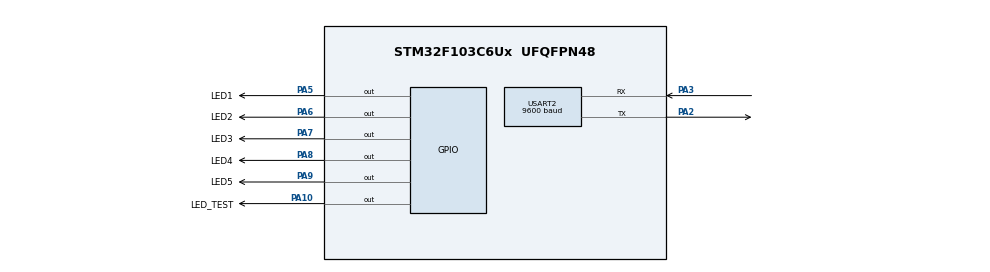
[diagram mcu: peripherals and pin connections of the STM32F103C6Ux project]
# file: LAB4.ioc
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Mcu.Family=STM32F1
Mcu.Name=STM32F103C6Ux
Mcu.Package=UFQFPN48
NVIC.PriorityGroup=NVIC_PRIORITYGROUP_4
NVIC.TIM2_IRQn=true\:0\:0\:false\:false\:true\:true\:true\:true
NVIC.USART2_IRQn=true\:0\:0\:false\:false\:true\:true\:true\:true
PA10.GPIO_Label=LED_TEST
PA10.Signal=GPIO_Output
PA2.Mode=Asynchronous
PA2.Signal=USART2_TX
PA3.Mode=Asynchronous
PA3.Signal=USART2_RX
PA5.GPIO_Label=LED1
PA5.Signal=GPIO_Output
PA6.GPIO_Label=LED2
PA6.Signal=GPIO_Output
PA7.GPIO_Label=LED3
PA7.Signal=GPIO_Output
PA8.GPIO_Label=LED4
PA8.Signal=GPIO_Output
PA9.GPIO_Label=LED5
PA9.Signal=GPIO_Output
ProjectManager.HeapSize=0x200
ProjectManager.StackSize=0x400
ProjectManager.TargetToolchain=STM32CubeIDE
RCC.APB1Freq_Value=8000000
RCC.APB2Freq_Value=8000000
TIM2.Period=10
TIM2.Prescaler=7999
USART2.BaudRate=9600
USART2.VirtualMode=VM_ASYNC
VP_TIM2_VS_ClockSourceINT.Mode=Internal
board=custom

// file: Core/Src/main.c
/* USER CODE BEGIN Header */
/**
  ******************************************************************************
  * @file           : main.c
  * @brief          : Main program body
  ******************************************************************************
  * @attention
  *
  * Copyright (c) 2022 STMicroelectronics.
  * All rights reserved.
  *
  * This software is licensed under terms that can be found in the LICENSE file
  * in the root directory of this software component.
  * If no LICENSE file comes with this software, it is provided AS-IS.
  *
  ******************************************************************************
  */
/* USER CODE END Header */
#include "main.h"

/* USER CODE BEGIN Includes */
#include "software_timer.h"
#include "global.h"
#include "scheduler.h"
/* USER CODE END Includes */

TIM_HandleTypeDef htim2;

UART_HandleTypeDef huart2;

/* USER CODE BEGIN PV */
uint8_t str[] = "Hello: \n";
/* USER CODE END PV */

void SystemClock_Config(void);
static void MX_GPIO_Init(void);
static void MX_TIM2_Init(void);
static void MX_USART2_UART_Init(void);

/* USER CODE BEGIN 0 */
void blinkLed1() {
	HAL_GPIO_TogglePin(LED1_GPIO_Port, LED1_Pin);
}

void blinkLed2() {
	HAL_GPIO_TogglePin(LED2_GPIO_Port, LED2_Pin);
}

void blinkLed3() {
	HAL_GPIO_TogglePin(LED3_GPIO_Port, LED3_Pin);
}

void blinkLed4() {
	HAL_GPIO_TogglePin(LED4_GPIO_Port, LED4_Pin);
}

void blinkLed5() {
	HAL_GPIO_TogglePin(LED5_GPIO_Port, LED5_Pin);
}

void oneshot() {
	HAL_GPIO_TogglePin(LED_TEST_GPIO_Port, LED_TEST_Pin);
}

//uint8_t temp[] = "HELLO WORLD!\n";
//void HAL_UART_RxCpltCallback(UART_HandleTypeDef *huart ){
//	if(huart -> Instance == USART2 ){
//		HAL_UART_Transmit(&huart2 , temp , sizeof(temp), 50);
//		HAL_UART_Receive_IT(&huart2 , temp , sizeof(temp));
//	}
//}
/* USER CODE END 0 */

int main(void)
{

  /* MCU Configuration--------------------------------------------------------*/

  /* Reset of all peripherals, Initializes the Flash interface and the Systick. */
  HAL_Init();

  /* Configure the system clock */
  SystemClock_Config();

  /* Initialize all configured peripherals */
  MX_GPIO_Init();
  MX_TIM2_Init();
  MX_USART2_UART_Init();
  /* USER CODE BEGIN 2 */
  HAL_TIM_Base_Start_IT(&htim2);
  SCH_Init();
  /* USER CODE END 2 */

  /* Infinite loop */
  /* USER CODE BEGIN WHILE */
  SCH_Add_Task(blinkLed1, 0, 500);
  SCH_Add_Task(blinkLed2, 10, 1000);
  SCH_Add_Task(blinkLed3, 20, 1500);
  SCH_Add_Task(blinkLed4, 35, 2000);
  SCH_Add_Task(blinkLed5, 40, 2500);
  SCH_Add_Task(oneshot, 1000, 0);
  setTimer1(1000);
  while (1)
  {
	  SCH_Dispatch_Task();
    /* USER CODE END WHILE */

  }
}

void SystemClock_Config(void)
{
  RCC_OscInitTypeDef RCC_OscInitStruct = {0};
  RCC_ClkInitTypeDef RCC_ClkInitStruct = {0};

  /** Initializes the RCC Oscillators according to the specified parameters
  * in the RCC_OscInitTypeDef structure.
  */
  RCC_OscInitStruct.OscillatorType = RCC_OSCILLATORTYPE_HSI;
  RCC_OscInitStruct.HSIState = RCC_HSI_ON;
  RCC_OscInitStruct.HSICalibrationValue = RCC_HSICALIBRATION_DEFAULT;
  RCC_OscInitStruct.PLL.PLLState = RCC_PLL_NONE;
  if (HAL_RCC_OscConfig(&RCC_OscInitStruct) != HAL_OK)
  {
    Error_Handler();
  }

  /** Initializes the CPU, AHB and APB buses clocks
  */
  RCC_ClkInitStruct.ClockType = RCC_CLOCKTYPE_HCLK|RCC_CLOCKTYPE_SYSCLK
                              |RCC_CLOCKTYPE_PCLK1|RCC_CLOCKTYPE_PCLK2;
  RCC_ClkInitStruct.SYSCLKSource = RCC_SYSCLKSOURCE_HSI;
  RCC_ClkInitStruct.AHBCLKDivider = RCC_SYSCLK_DIV1;
  RCC_ClkInitStruct.APB1CLKDivider = RCC_HCLK_DIV1;
  RCC_ClkInitStruct.APB2CLKDivider = RCC_HCLK_DIV1;

  if (HAL_RCC_ClockConfig(&RCC_ClkInitStruct, FLASH_LATENCY_0) != HAL_OK)
  {
    Error_Handler();
  }
}

static void MX_TIM2_Init(void)
{

  TIM_ClockConfigTypeDef sClockSourceConfig = {0};
  TIM_MasterConfigTypeDef sMasterConfig = {0};

  htim2.Instance = TIM2;
  htim2.Init.Prescaler = 7999;
  htim2.Init.CounterMode = TIM_COUNTERMODE_UP;
  htim2.Init.Period = 10;
  htim2.Init.ClockDivision = TIM_CLOCKDIVISION_DIV1;
  htim2.Init.AutoReloadPreload = TIM_AUTORELOAD_PRELOAD_DISABLE;
  if (HAL_TIM_Base_Init(&htim2) != HAL_OK)
  {
    Error_Handler();
  }
  sClockSourceConfig.ClockSource = TIM_CLOCKSOURCE_INTERNAL;
  if (HAL_TIM_ConfigClockSource(&htim2, &sClockSourceConfig) != HAL_OK)
  {
    Error_Handler();
  }
  sMasterConfig.MasterOutputTrigger = TIM_TRGO_RESET;
  sMasterConfig.MasterSlaveMode = TIM_MASTERSLAVEMODE_DISABLE;
  if (HAL_TIMEx_MasterConfigSynchronization(&htim2, &sMasterConfig) != HAL_OK)
  {
    Error_Handler();
  }
  /* USER CODE BEGIN TIM2_Init 2 */
//  CYCLE = 1/((8e6/(htim2.Init.Prescaler + 1))/htim2.Init.Period)*1000;
  /* USER CODE END TIM2_Init 2 */

}

static void MX_USART2_UART_Init(void)
{

  huart2.Instance = USART2;
  huart2.Init.BaudRate = 9600;
  huart2.Init.WordLength = UART_WORDLENGTH_8B;
  huart2.Init.StopBits = UART_STOPBITS_1;
  huart2.Init.Parity = UART_PARITY_NONE;
  huart2.Init.Mode = UART_MODE_TX_RX;
  huart2.Init.HwFlowCtl = UART_HWCONTROL_NONE;
  huart2.Init.OverSampling = UART_OVERSAMPLING_16;
  if (HAL_UART_Init(&huart2) != HAL_OK)
  {
    Error_Handler();
  }

}

static void MX_GPIO_Init(void)
{
  GPIO_InitTypeDef GPIO_InitStruct = {0};

  /* GPIO Ports Clock Enable */
  __HAL_RCC_GPIOA_CLK_ENABLE();

  /*Configure GPIO pin Output Level */
  HAL_GPIO_WritePin(GPIOA, LED1_Pin|LED2_Pin|LED3_Pin|LED4_Pin
                          |LED5_Pin|LED_TEST_Pin, GPIO_PIN_RESET);

  /*Configure GPIO pins : LED1_Pin LED2_Pin LED3_Pin LED4_Pin
                           LED5_Pin LED_TEST_Pin */
  GPIO_InitStruct.Pin = LED1_Pin|LED2_Pin|LED3_Pin|LED4_Pin
                          |LED5_Pin|LED_TEST_Pin;
  GPIO_InitStruct.Mode = GPIO_MODE_OUTPUT_PP;
  GPIO_InitStruct.Pull = GPIO_NOPULL;
  GPIO_InitStruct.Speed = GPIO_SPEED_FREQ_LOW;
  HAL_GPIO_Init(GPIOA, &GPIO_InitStruct);

}

/* USER CODE BEGIN 4 */
void HAL_TIM_PeriodElapsedCallback(TIM_HandleTypeDef *htim) {
	SCH_Update_Task();
	timerRun();
;}
/* USER CODE END 4 */

void Error_Handler(void)
{
  __disable_irq();
  while (1)
  {
  }
}
